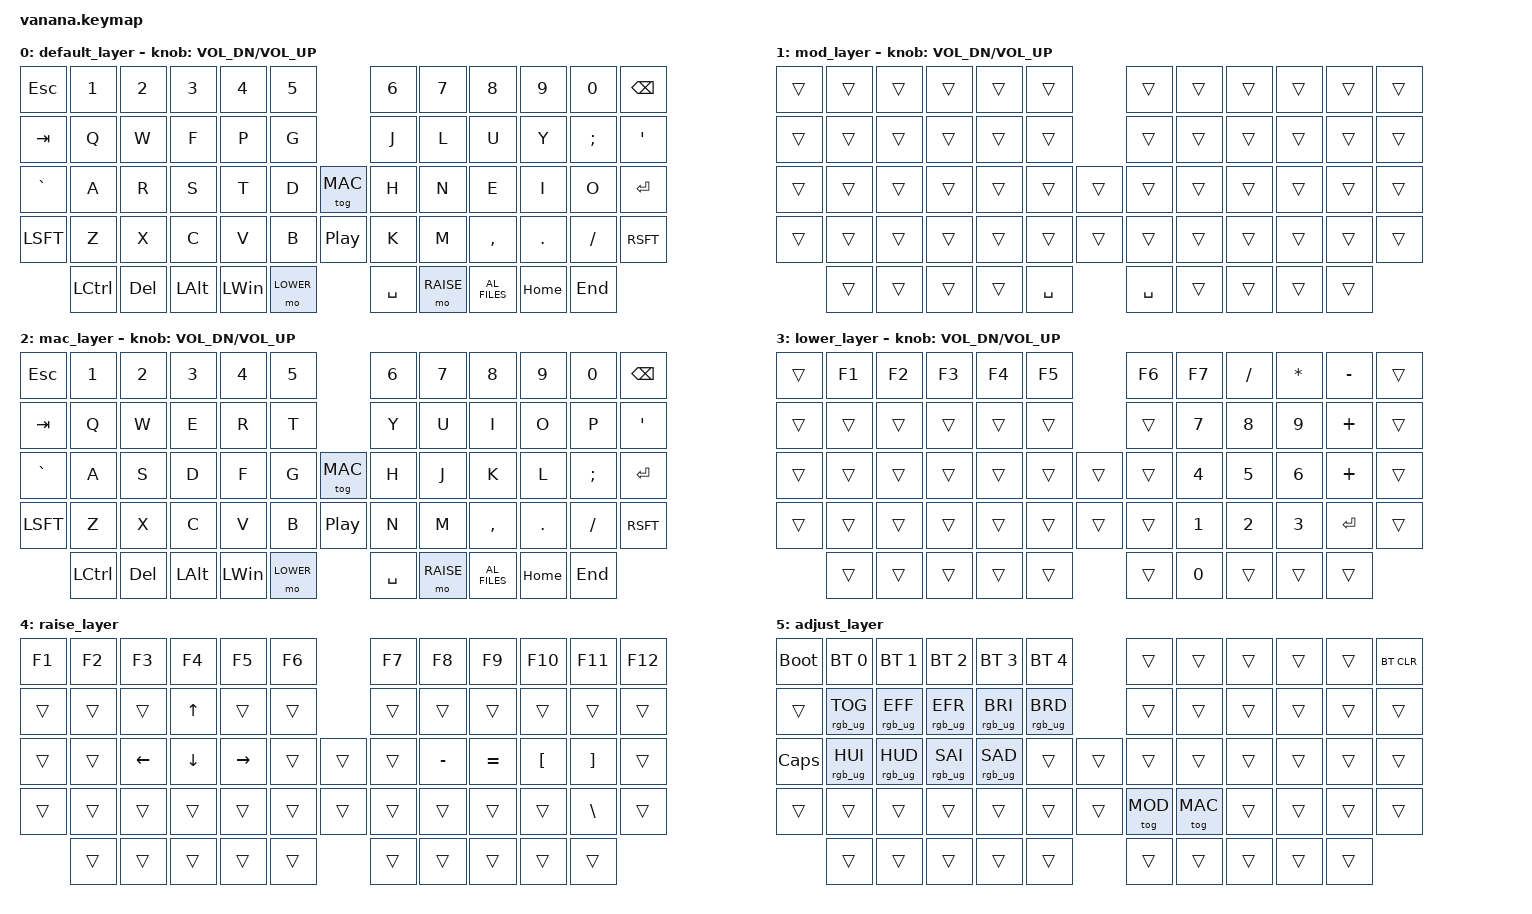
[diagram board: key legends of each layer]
/*
 * Copyright (c) 2020 dELLIKEEb
 *
 * SPDX-License-Identifier: MIT
 */

#include <behaviors.dtsi>
#include <dt-bindings/zmk/keys.h>
#include <dt-bindings/zmk/bt.h>
#include <dt-bindings/zmk/rgb.h>

// custom keycode defs for easier access
#define DEFAULT 0
#define MOD     1
#define MAC     2
#define LOWER   3
#define RAISE   4
#define ADJUST  5

// / {
//     behaviors {
//         hm: homerow_mods {
//             compatible = "zmk,behavior-hold-tap";
//             label = "homerow mods";
//             #binding-cells = <2>;
//             tapping_term_ms = <225>;
//             flavor = "tap-preferred";
//             bindings = <&kp>, <&kp>;
//         };
//     };
// };

// BASE
// -------------------------------------------               -------------------------------------------
// |   `  |   1  |   2  |   3  |   4  |   5  |               |   6  |   7  |   8  |   9  |   0  | Bksp |
// -------------------------------------------               -------------------------------------------
// | Tab  |   Q  |   W  |   E  |   R  |   T  |               |   Y  |   U  |   I  |   O  |   P  | Del  |
// -------------------------------------------   ---------  --------------------------------------------
// | Esc  |   A  |   S  |   D  |   F  |   G  |   | Right |   |   H  |   J  |   K  |   L  |   ;  |Enter |
// -------------------------------------------   ---------   -------------------------------------------
// | Shift|   Z  |   X  |   C  |   V  |   B  |   | LEFT  |   |   N  |   M  |   ,  |   .  |   /  | "    |
// -------------------------------------------   ---------   -------------------------------------------
//        | Ctrl | GUI  |  Alt |Lower |Space |               |Space |Raise |Alt   | DOWN | UP   |
//        ------------------------------------               ------------------------------------
// 

/ {
    keymap {
        compatible = "zmk,keymap";

       default_layer {
            bindings = <
                &kp ESC    &kp N1      &kp N2      &kp N3      &kp N4    &kp N5                    &kp N6      &kp N7      &kp N8      &kp N9      &kp N0      &kp BKSP
                &kp TAB     &kp Q       &kp W       &kp F       &kp P     &kp G                     &kp J       &kp L       &kp U       &kp Y       &kp SEMI       &kp SQT
                &kp GRAVE   &kp A       &kp R       &kp S       &kp T     &kp D         &tog MAC    &kp H       &kp N       &kp E       &kp I       &kp O       &kp RET
                &kp LSFT    &kp Z       &kp X       &kp C       &kp V     &kp B         &kp C_PP    &kp K       &kp M       &kp CMMA    &kp DOT     &kp FSLH    &kp RSFT
                            &kp LCTL    &kp DEL    &kp LALT    &kp LWIN &mo LOWER                   &kp SPC     &mo RAISE   &kp C_AL_FILES    &kp HOME    &kp END
            >;
            sensor-bindings = <&inc_dec_kp C_VOL_DN C_VOL_UP>;
        };

        mod_layer {
            bindings = <
                &trans      &trans      &trans      &trans      &trans      &trans                  &trans      &trans      &trans      &trans      &trans      &trans  
                &trans      &trans      &trans      &trans      &trans      &trans                  &trans      &trans      &trans      &trans      &trans      &trans
                &trans      &trans      &trans      &trans      &trans      &trans      &trans      &trans      &trans      &trans      &trans      &trans      &trans
                &trans      &trans      &trans      &trans      &trans      &trans      &trans      &trans      &trans      &trans      &trans      &trans      &trans 
                            &trans      &trans      &trans      &trans      &kp SPC                 &kp SPC     &trans      &trans      &trans      &trans
            >;
            sensor-bindings = <&inc_dec_kp C_VOL_DN C_VOL_UP>;
        };

        mac_layer {
            bindings = <
                &kp ESC    &kp N1      &kp N2      &kp N3      &kp N4    &kp N5                    &kp N6      &kp N7      &kp N8      &kp N9      &kp N0      &kp BKSP
                &kp TAB     &kp Q       &kp W       &kp E       &kp R     &kp T                     &kp Y       &kp U       &kp I       &kp O       &kp P       &kp SQT
                &kp GRAVE     &kp A       &kp S       &kp D       &kp F     &kp G         &tog MAC    &kp H       &kp J       &kp K       &kp L       &kp SEMI    &kp RET
                &kp LSFT    &kp Z       &kp X       &kp C       &kp V     &kp B         &kp C_PLAY_PAUSE    &kp N       &kp M       &kp CMMA    &kp DOT     &kp SLASH    &kp RSFT
                            &kp LCTL    &kp DEL    &kp LALT    &kp LWIN &mo LOWER                   &kp SPC     &mo RAISE   &kp C_AL_FILES    &kp HOME    &kp END
            >;
            sensor-bindings = <&inc_dec_kp C_VOL_DN C_VOL_UP>;
        };

        lower_layer {
            bindings = <
                &trans     &kp F1      &kp F2      &kp F3      &kp F4      &kp F5                  &kp F6      &kp F7      &kp SLASH      &kp STAR      &kp MINUS     &trans  
                &trans    &trans    &trans   &trans   &trans   &trans                &trans   &kp NUM_7    &kp NUM_8    &kp NUM_9      &kp PLUS    &trans
                &trans   &trans   &trans   &trans   &trans   &trans   &trans        &trans     &kp NUM_4    &kp NUM_5    &kp NUM_6    &kp PLUS   &trans
                &trans     &trans    &trans   &trans   &trans   &trans   &trans    &trans    &kp NUM_1    &kp NUM_2    &kp NUM_3    &kp RET   &trans
                            &trans      &trans      &trans      &trans      &trans                  &trans      &kp NUM_0  &trans      &trans      &trans
            >;
            sensor-bindings = <&inc_dec_kp C_VOL_DN C_VOL_UP>;
        };

        raise_layer {
            bindings = <
                &kp F1      &kp F2      &kp F3      &kp F4      &kp F5      &kp F6                      &kp F7      &kp F8      &kp F9      &kp F10      &kp F11      &kp F12  
                &trans      &trans      &trans      &kp UP      &trans      &trans                      &trans      &trans    &trans    &trans     &trans     &trans
                &trans      &trans      &kp LEFT      &kp DOWN      &kp RIGHT      &trans      &trans    &trans    &kp MINUS    &kp EQUAL    &kp LBKT    &kp RBKT    &trans 
                &trans      &trans      &trans      &trans      &trans      &trans      &trans    &trans      &trans      &trans      &trans      &kp BSLH      &trans 
                            &trans      &trans      &trans      &trans  &trans                      &trans      &trans      &trans      &trans      &trans
            >;
            
        };
        
        adjust_layer {
            bindings = <
                &bootloader &bt BT_SEL 0    &bt BT_SEL 1    &bt BT_SEL 2    &bt BT_SEL 3    &bt BT_SEL 4                    &trans      &trans      &trans      &trans      &trans      &bt BT_CLR        
                &trans      &rgb_ug RGB_TOG &rgb_ug RGB_EFF &rgb_ug RGB_EFR &rgb_ug RGB_BRI &rgb_ug RGB_BRD                 &trans      &trans      &trans      &trans      &trans      &trans
                &kp CAPS    &rgb_ug RGB_HUI &rgb_ug RGB_HUD &rgb_ug RGB_SAI &rgb_ug RGB_SAD &trans          &trans    &trans      &trans      &trans      &trans      &trans      &trans  
                &trans      &trans          &trans          &trans          &trans          &trans          &trans   &tog MOD    &tog MAC    &trans      &trans      &trans      &trans  
                            &trans          &trans          &trans          &trans          &trans                          &trans      &trans      &trans      &trans      &trans
            >;
        };

    };
};
